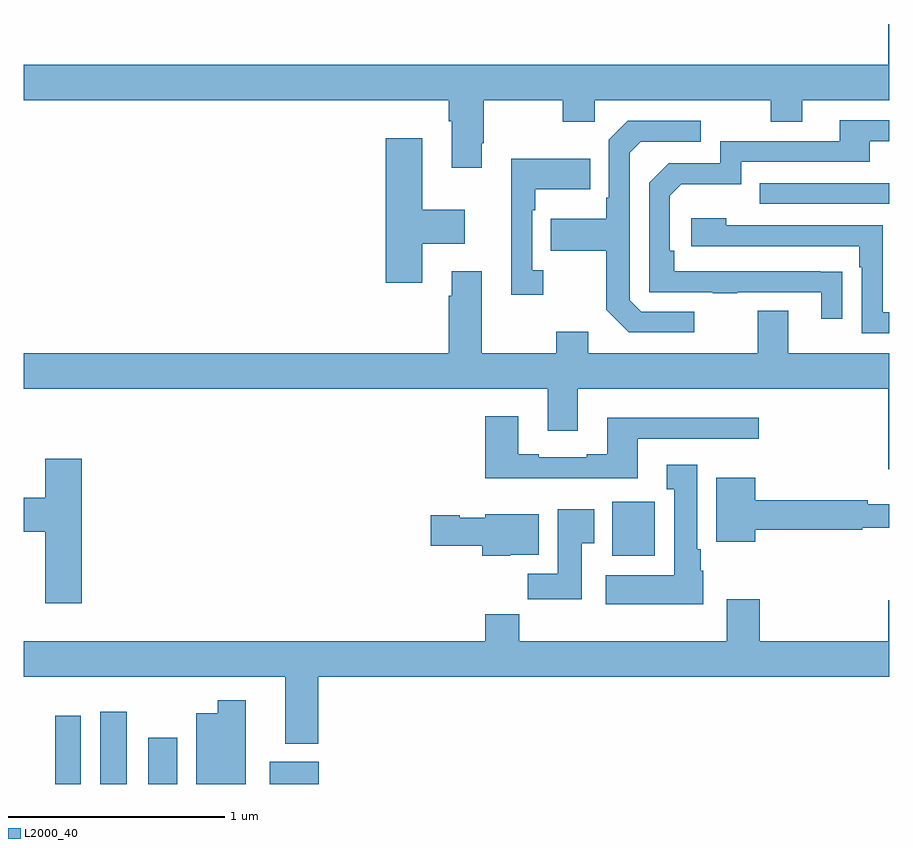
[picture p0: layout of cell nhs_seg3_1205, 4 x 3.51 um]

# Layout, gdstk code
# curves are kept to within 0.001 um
import gdstk
lib = gdstk.Library(unit=1e-6, precision=1e-09)
def R(c, l, rs):  # rectangles x0, y0, x1, y1
    for r in rs: c.add(gdstk.rectangle(r[:2], r[2:], *l))
def P(c, l, *ps):  # polygons
    for p in ps: c.add(gdstk.Polygon(p, *l))
L2000_40 = (2000, 40)

nhs_seg3_1205 = lib.new_cell('nhs_seg3_1205')
R(nhs_seg3_1205, L2000_40, [(173.146,720.4,173.262,720.715), (173.354,720.4,173.476,720.733), (173.576,720.4,173.71,720.613), (174.137,720.4,174.364,720.502), (175.721,721.454,175.917,721.705), (176.401,723.081,177,723.177)])
P(nhs_seg3_1205, L2000_40, [(175.117,723.361),(175.125,723.361),(175.125,723.56),(175.492,723.56),(175.492,723.461),(175.638,723.461),(175.638,723.56),(176.452,723.56),(176.452,723.461),(176.599,723.461),(176.599,723.56),(177,723.56),(177,723.913),(176.996,723.913),(176.996,723.724),(173,723.724),(173,723.56),(174.965,723.56),(174.965,723.464),(174.977,723.464),(174.977,723.249),(175.117,723.249)],
  [(176.783,722.768),(176.006,722.769),(176.006,722.866),(175.986,722.866),(175.986,723.12),(176.039,723.173),(176.316,723.173),(176.316,723.276),(176.911,723.276),(176.911,723.372),(177,723.372),(177,723.468),(176.771,723.468),(176.771,723.372),(176.22,723.372),(176.22,723.27),(175.98,723.27),(175.89,723.18),(175.89,722.673),(176.185,722.673),(176.185,722.668),(176.297,722.668),(176.297,722.673),(176.687,722.673),(176.687,722.55),(176.783,722.55)],
  [(176.098,722.583),(175.854,722.583),(175.8,722.637),(175.8,723.318),(175.851,723.369),(176.128,723.369),(176.128,723.465),(175.791,723.465),(175.704,723.378),(175.704,723.109),(175.692,723.109),(175.692,723.013),(175.435,723.013),(175.435,722.866),(175.692,722.866),(175.692,722.593),(175.797,722.487),(176.098,722.487)],
  [(174.841,722.897),(175.039,722.897),(175.039,723.055),(174.841,723.055),(174.841,723.385),(174.674,723.385),(174.674,722.718),(174.841,722.718)],
  [(175.402,722.774),(175.35,722.774),(175.35,723.053),(175.363,723.053),(175.363,723.149),(175.619,723.149),(175.619,723.289),(175.253,723.289),(175.253,722.661),(175.402,722.661)],
  [(177,722.58),(176.97,722.58),(176.97,722.982),(176.246,722.982),(176.246,723.016),(176.085,723.016),(176.085,722.886),(176.861,722.886),(176.861,722.789),(176.874,722.789),(176.874,722.484),(177,722.484)],
  [(175.117,722.77),(174.977,722.77),(174.977,722.657),(174.965,722.657),(174.965,722.392),(173,722.392),(173,722.228),(175.421,722.228),(175.421,722.034),(175.561,722.034),(175.561,722.228),(176.996,722.228),(176.996,721.854),(177,721.854),(177,722.392),(176.533,722.392),(176.533,722.587),(176.393,722.587),(176.393,722.392),(175.609,722.392),(175.609,722.491),(175.462,722.491),(175.462,722.392),(175.117,722.392)],
  [(175.837,721.995),(176.398,721.995),(176.398,722.092),(175.697,722.092),(175.697,721.924),(175.601,721.924),(175.601,721.911),(175.381,721.911),(175.381,721.924),(175.285,721.924),(175.285,722.101),(175.133,722.101),(175.133,721.814),(175.837,721.814)],
  [(173.267,721.903),(173.099,721.903),(173.099,721.723),(173,721.723),(173,721.565),(173.099,721.565),(173.099,721.236),(173.267,721.236)],
  [(176.14,721.386),(176.128,721.386),(176.128,721.486),(176.113,721.486),(176.113,721.876),(175.973,721.876),(175.973,721.763),(176.006,721.763),(176.006,721.366),(175.689,721.366),(175.689,721.232),(176.14,721.232)],
  [(176.38,721.576),(176.876,721.576),(176.876,721.584),(177,721.584),(177,721.693),(176.9,721.693),(176.9,721.712),(176.38,721.712),(176.38,721.816),(176.201,721.816),(176.201,721.52),(176.38,721.52)],
  [(175.579,721.513),(175.636,721.513),(175.636,721.669),(175.469,721.669),(175.469,721.372),(175.33,721.372),(175.33,721.254),(175.579,721.254)],
  [(175.248,721.46),(175.381,721.46),(175.381,721.648),(175.134,721.648),(175.134,721.63),(175.014,721.63),(175.014,721.643),(174.882,721.643),(174.882,721.501),(175.118,721.501),(175.118,721.454),(175.248,721.454)],
  [(174.362,720.896),(177,720.896),(177,721.249),(176.996,721.249),(176.996,721.06),(176.402,721.06),(176.402,721.255),(176.249,721.255),(176.249,721.06),(175.289,721.06),(175.289,721.184),(175.133,721.184),(175.133,721.06),(173,721.06),(173,720.896),(174.209,720.896),(174.209,720.587),(174.362,720.587)],
  [(174.025,720.787),(173.896,720.787),(173.896,720.727),(173.798,720.727),(173.798,720.4),(174.025,720.4)])

lib.write_gds('nhs_seg3_1205.gds')
